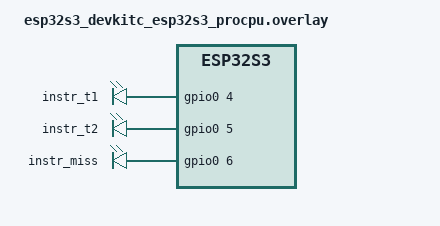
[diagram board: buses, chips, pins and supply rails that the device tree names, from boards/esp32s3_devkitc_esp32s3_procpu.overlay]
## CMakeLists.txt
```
cmake_minimum_required(VERSION 3.20.0)
find_package(Zephyr REQUIRED HINTS $ENV{ZEPHYR_BASE})
project(fig413)

target_sources(app PRIVATE src/main.c)
```

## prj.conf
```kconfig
# Week 6 Task A — Buttazzo Fig. 4.13 under fixed priorities (RM).
# Build with -DEXTRA_CONF_FILE=edf.conf for the EDF run.
CONFIG_GPIO=y
CONFIG_SERIAL=y
CONFIG_CONSOLE=y
CONFIG_UART_CONSOLE=y
CONFIG_PRINTK=y
CONFIG_THREAD_NAME=y
```

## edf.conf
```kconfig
# Week 6 Task A — the same task set under EDF.
# Both tasks get the same static priority; the kernel breaks the tie by the
# absolute deadline that each job sets with k_thread_absolute_deadline_set().
CONFIG_SCHED_DEADLINE=y
```

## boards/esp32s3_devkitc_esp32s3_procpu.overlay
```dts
/*
 * Fig. 4.13 instrumentation on the ESP32-S3-DevKitC-1. Same header pins as
 * firmware/kernel, so the analyzer ribbon stays where it was:
 *   GPIO4 (DIO0) tau1 job active   GPIO5 (DIO1) tau2 job active
 *   GPIO6 (DIO2) deadline-miss pulse
 */
#include <zephyr/dt-bindings/gpio/gpio.h>

/ {
	instr {
		compatible = "gpio-leds";
		instr_t1: instr_t1 { gpios = <&gpio0 4 GPIO_ACTIVE_HIGH>; };
		instr_t2: instr_t2 { gpios = <&gpio0 5 GPIO_ACTIVE_HIGH>; };
		instr_miss: instr_miss { gpios = <&gpio0 6 GPIO_ACTIVE_HIGH>; };
	};
};
```

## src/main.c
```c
/*
 * Week 6 Task A — Buttazzo, Hard Real-Time Computing Systems, Fig. 4.13, live.
 *
 *   tau1: C = 2 ms, T = D = 5 ms
 *   tau2: C = 4 ms, T = D = 7 ms        U = 2/5 + 4/7 = 0.971
 *
 * Default build (prj.conf): fixed priorities assigned rate monotonic, so tau1
 * (shorter period) has the higher priority. Expected: tau2 misses at t = 7 ms.
 *
 * EDF build (-DEXTRA_CONF_FILE=edf.conf): both threads share one static
 * priority and the kernel orders them by the absolute deadline that each job
 * sets with k_thread_absolute_deadline_set(). The deadline of the *next* job is
 * set BEFORE the thread blocks until its next release; setting it after the
 * wake-up is too late, because the scheduler has already chosen with the old
 * deadline and the run looks like RM.
 *
 * "Computation" is a calibrated busy loop that counts loop iterations, so it
 * consumes C of CPU time. k_busy_wait() would not do: it measures wall-clock
 * time, which keeps running while the thread is preempted.
 *
 * Instrumentation (see the board overlay in boards/):
 *   instr_t1 / instr_t2: high from the start of a job's computation to its end.
 *     While tau1's pin is high inside a tau2 pulse, tau2 is preempted.
 *   instr_miss: short pulse when a job finishes after its absolute deadline.
 *
 * The logic analyzer is the judge of the numbers. The console report uses
 * kernel ticks (100 us on the S3), so its response times are coarse.
 */

#include <zephyr/kernel.h>
#include <zephyr/drivers/gpio.h>
#include <zephyr/sys/atomic.h>
#include <zephyr/sys/printk.h>

#ifdef CONFIG_SCHED_DEADLINE
#define PRIO_T1 1
#define PRIO_T2 1 /* EDF: same static priority, deadline breaks the tie */
#define POLICY  "EDF"
#else
#define PRIO_T1 1 /* RM: shorter period -> higher priority (lower number) */
#define PRIO_T2 2
#define POLICY  "RM"
#endif
#define PRIO_REPORT 10 /* below both tasks under either policy */

#define RUN_SECONDS 60
#define STACK_SIZE  1024

#define INSTR(node) GPIO_DT_SPEC_GET_OR(DT_NODELABEL(node), gpios, {0})
static const struct gpio_dt_spec pin_t1 = INSTR(instr_t1);
static const struct gpio_dt_spec pin_t2 = INSTR(instr_t2);
static const struct gpio_dt_spec pin_miss = INSTR(instr_miss);

static inline void pin_set(const struct gpio_dt_spec *p, int v)
{
	if (p->port) {
		gpio_pin_set_dt(p, v);
	}
}

/* ---- Calibrated computation ---------------------------------------------- */

static uint32_t iters_per_100us;

static __noinline void spin(uint32_t iters)
{
	for (volatile uint32_t i = 0; i < iters; i++) {
	}
}

static void spin_us(uint32_t us)
{
	spin((uint32_t)(((uint64_t)iters_per_100us * us) / 100U));
}

/* Time a fixed number of iterations several times and keep the fastest run:
 * the fastest one is the one least disturbed by interrupts. */
static void calibrate(void)
{
	const uint32_t n = 200000;
	uint64_t best_ns = UINT64_MAX;

	for (int trial = 0; trial < 5; trial++) {
		uint32_t c0 = k_cycle_get_32();

		spin(n);
		uint32_t dc = k_cycle_get_32() - c0;
		uint64_t ns = k_cyc_to_ns_floor64(dc);

		if (ns < best_ns) {
			best_ns = ns;
		}
	}
	iters_per_100us = (uint32_t)(((uint64_t)n * 100000U) / best_ns);
}

/* ---- Tasks ---------------------------------------------------------------- */

struct task {
	const char *name;
	uint32_t c_us;
	uint32_t t_ms;
	const struct gpio_dt_spec *pin;
	atomic_t jobs;
	atomic_t misses;
	atomic_t max_resp_us;
	atomic_t first_miss_ms; /* release-relative time of the first miss, -1 = none */
};

static struct task tasks[] = {
	{ .name = "tau1", .c_us = 2000, .t_ms = 5, .pin = &pin_t1,
	  .first_miss_ms = ATOMIC_INIT(-1) },
	{ .name = "tau2", .c_us = 4000, .t_ms = 7, .pin = &pin_t2,
	  .first_miss_ms = ATOMIC_INIT(-1) },
};

static int64_t t0_ticks; /* common synchronous release of both tasks */

#ifdef CONFIG_SCHED_DEADLINE
/* Absolute deadline given in kernel ticks, converted to the hardware cycle
 * counter that k_thread_absolute_deadline_set() compares against. */
static void set_abs_deadline(int64_t abs_ticks)
{
	int64_t d = abs_ticks - k_uptime_ticks();
	int32_t dc = (d >= 0) ? (int32_t)k_ticks_to_cyc_floor64(d)
			      : -(int32_t)k_ticks_to_cyc_floor64(-d);

	k_thread_absolute_deadline_set(k_current_get(),
				       (int)(k_cycle_get_32() + (uint32_t)dc));
}
#endif

static void task_thread(void *p1, void *p2, void *p3)
{
	ARG_UNUSED(p2);
	ARG_UNUSED(p3);
	struct task *t = p1;
	const int64_t period = k_ms_to_ticks_ceil64(t->t_ms);
	int64_t release = t0_ticks;

#ifdef CONFIG_SCHED_DEADLINE
	set_abs_deadline(release + period); /* first job, before blocking */
#endif
	k_sleep(K_TIMEOUT_ABS_TICKS(release));

	for (;;) {
		pin_set(t->pin, 1);
		spin_us(t->c_us);
		pin_set(t->pin, 0);

		int64_t now = k_uptime_ticks();
		int64_t deadline = release + period;
		int64_t resp_us = k_ticks_to_us_floor64(now - release);

		atomic_inc(&t->jobs);
		if (resp_us > atomic_get(&t->max_resp_us)) {
			atomic_set(&t->max_resp_us, (atomic_val_t)resp_us);
		}
		if (now > deadline) {
			atomic_inc(&t->misses);
			atomic_cas(&t->first_miss_ms, -1,
				   (atomic_val_t)k_ticks_to_ms_floor64(deadline - t0_ticks));
			pin_set(&pin_miss, 1);
			k_busy_wait(5);
			pin_set(&pin_miss, 0);
		}

		/* Releases stay on the grid t0 + k*T: a late job does not shift
		 * the next release, it only shortens the sleep (possibly to 0). */
		release += period;
#ifdef CONFIG_SCHED_DEADLINE
		set_abs_deadline(release + period); /* next job, before blocking */
#endif
		k_sleep(K_TIMEOUT_ABS_TICKS(release));
	}
}

K_THREAD_STACK_DEFINE(stack_t1, STACK_SIZE);
K_THREAD_STACK_DEFINE(stack_t2, STACK_SIZE);
static struct k_thread thread_t1, thread_t2;

/* ---- Report (lowest priority: it only gets the CPU the tasks leave) ------- */

static void report(void)
{
	int s = (int)(k_ticks_to_ms_floor64(k_uptime_ticks() - t0_ticks) / 1000);

	printk("[%s t=%2ds]", POLICY, s);
	for (int i = 0; i < ARRAY_SIZE(tasks); i++) {
		struct task *t = &tasks[i];

		printk("  %s jobs=%ld misses=%ld maxR=%ld us first_miss=%ld ms",
		       t->name, (long)atomic_get(&t->jobs),
		       (long)atomic_get(&t->misses),
		       (long)atomic_get(&t->max_resp_us),
		       (long)atomic_get(&t->first_miss_ms));
	}
	printk("\n");
}

static void report_thread(void *p1, void *p2, void *p3)
{
	ARG_UNUSED(p1);
	ARG_UNUSED(p2);
	ARG_UNUSED(p3);

	for (int s = 1; s <= RUN_SECONDS; s++) {
		k_sleep(K_TIMEOUT_ABS_TICKS(t0_ticks + k_ms_to_ticks_ceil64(1000 * s)));
		report();
	}
	printk("[%s] %d s run complete; tasks keep running\n", POLICY, RUN_SECONDS);
}

K_THREAD_STACK_DEFINE(stack_report, STACK_SIZE);
static struct k_thread thread_report;

int main(void)
{
	const struct gpio_dt_spec *pins[] = { &pin_t1, &pin_t2, &pin_miss };

	for (int i = 0; i < ARRAY_SIZE(pins); i++) {
		if (pins[i]->port && gpio_is_ready_dt(pins[i])) {
			gpio_pin_configure_dt(pins[i], GPIO_OUTPUT_INACTIVE);
		}
	}

	calibrate();
	printk("\nFig. 4.13 under %s: tau1 C=2 T=5 ms, tau2 C=4 T=7 ms, U=0.971\n",
	       POLICY);
	printk("calibration: %u iterations per 100 us\n", iters_per_100us);

	/* Common release 100 ms from now, so both threads are created and
	 * blocked before the first job: a synchronous start, as in the book. */
	t0_ticks = k_uptime_ticks() + k_ms_to_ticks_ceil64(100);

	k_thread_create(&thread_t1, stack_t1, STACK_SIZE, task_thread,
			&tasks[0], NULL, NULL, PRIO_T1, 0, K_NO_WAIT);
	k_thread_name_set(&thread_t1, "tau1");
	k_thread_create(&thread_t2, stack_t2, STACK_SIZE, task_thread,
			&tasks[1], NULL, NULL, PRIO_T2, 0, K_NO_WAIT);
	k_thread_name_set(&thread_t2, "tau2");
	k_thread_create(&thread_report, stack_report, STACK_SIZE, report_thread,
			NULL, NULL, NULL, PRIO_REPORT, 0, K_NO_WAIT);
	k_thread_name_set(&thread_report, "report");

	return 0;
}
```
